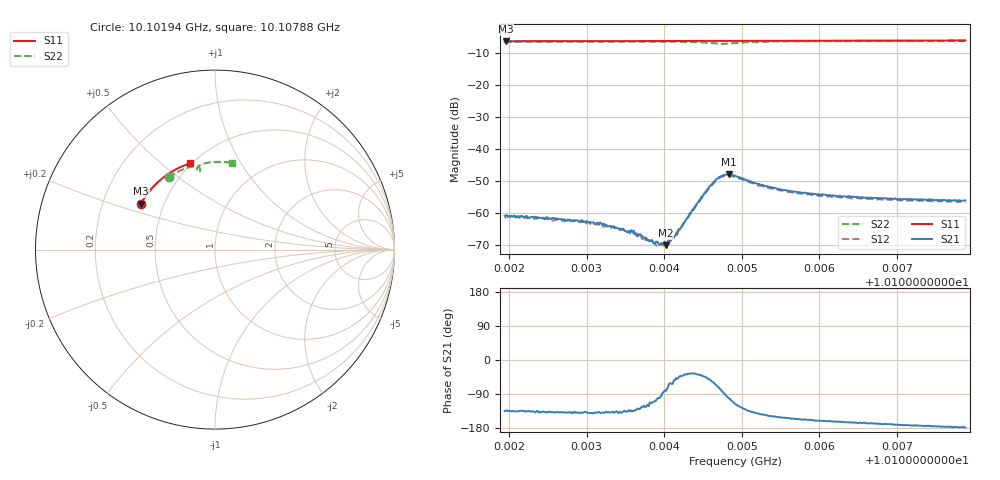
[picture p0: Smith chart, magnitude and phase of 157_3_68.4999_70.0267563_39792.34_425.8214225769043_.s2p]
#  HZ  S  RI  R  50.00
! Rohde & Schwarz Vector Network Analyzer
! Rohde-Schwarz,ZNB20-2Port,1311601062101988,3.16
! Created: UTC 3/20/2024, 4:55:38 PM
! freq[Hz]  re:S11  im:S11  re:S21  im:S21  re:S12  im:S12  re:S22  im:S22
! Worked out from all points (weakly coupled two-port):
!   401 points, 10.10194 GHz to 10.10788 GHz, reference 50 ohm
!   highest |S21| = -47.93 dB at 10.10484 GHz (marker M1); lowest = -70.1 dB at 10.10402 GHz (marker M2)
!   lowest |S11| = -6.3 dB at 10.10196 GHz (marker M3), VSWR 2.88, Z = 18.6 + j12.4 ohm
!   |S11| at or under -10 dB: nowhere
!   |S22| runs from -7.1 to -6.2 dB; largest |S21 - S12| = 0.00042
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1.0101941e10  -0.4124 0.2554  -0.000632 -0.000642  -0.000542 -0.000678  -0.2579 0.4019
1.0101956e10  -0.4119 0.2561  -0.000631 -0.000659  -0.000546 -0.000643  -0.2573 0.4024
1.0102936e10  -0.3798 0.3065  -0.000588 -0.000509  -0.0005 -0.000523  -0.202 0.4358
1.0103159e10  -0.3718 0.3172  -0.000504 -0.000468  -0.000473 -0.00048  -0.1886 0.4421
1.0103367e10  -0.3639 0.327  -0.000422 -0.000391  -0.000412 -0.000429  -0.1756 0.4479
1.0103531e10  -0.3576 0.3347  -0.000369 -0.000357  -0.000311 -0.000382  -0.1652 0.4521
1.0103575e10  -0.3558 0.3368  -0.000366 -0.000394  -0.000307 -0.000353  -0.1621 0.4531
1.0103843e10  -0.345 0.349  -0.000144 -0.00035  -0.00011 -0.000337  -0.1438 0.4593
1.0103932e10  -0.3413 0.3529  -6.28e-05 -0.000315  -2.41e-05 -0.000315  -0.1373 0.4609
1.0104021e10  -0.3375 0.3568  4.43e-05 -0.00031  7.04e-05 -0.000303  -0.1306 0.4624
1.0104051e10  -0.3363 0.3581  0.000127 -0.000353  0.000141 -0.000294  -0.1282 0.4629
1.0104125e10  -0.3331 0.3614  0.000255 -0.00034  0.000262 -0.000306  -0.1224 0.4636
1.0104184e10  -0.3306 0.3639  0.000382 -0.000405  0.000396 -0.000341  -0.1175 0.4642
1.0104496e10  -0.3169 0.3768  0.00135 -0.00125  0.00145 -0.00108  -0.0887 0.4576
1.0104645e10  -0.31 0.3829  0.00149 -0.00274  0.00166 -0.0025  -0.0816 0.4429
1.0104734e10  -0.306 0.3863  0.000664 -0.00373  0.000926 -0.00353  -0.0876 0.4349
1.0104838e10  -0.3013 0.3903  -0.000838 -0.00393  -0.000485 -0.00381  -0.0983 0.4376
1.0104912e10  -0.2979 0.3932  -0.00162 -0.00349  -0.00125 -0.00346  -0.1015 0.4451
1.0105343e10  -0.2775 0.4095  -0.00217 -0.00139  -0.00195 -0.00153  -0.076 0.4741
1.0105908e10  -0.2495 0.4288  -0.00188 -0.00073  -0.00171 -0.000834  -0.0356 0.4848
1.0106903e10  -0.1965 0.4578  -0.00161 -0.000302  -0.00155 -0.000414  0.0309 0.4888
1.0107884e10  -0.1414 0.4798  -0.00157 -5.75e-05  -0.00148 -0.000205  0.0941 0.4832
